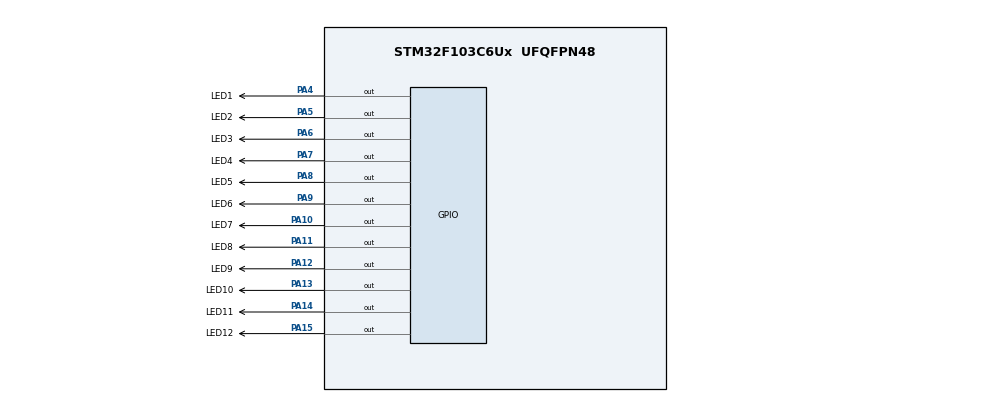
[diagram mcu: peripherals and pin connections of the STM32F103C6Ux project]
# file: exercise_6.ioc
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Mcu.Family=STM32F1
Mcu.Name=STM32F103C6Ux
Mcu.Package=UFQFPN48
NVIC.PriorityGroup=NVIC_PRIORITYGROUP_4
PA10.GPIO_Label=LED7
PA10.Signal=GPIO_Output
PA11.GPIO_Label=LED8
PA11.Signal=GPIO_Output
PA12.GPIO_Label=LED9
PA12.Signal=GPIO_Output
PA13.GPIO_Label=LED10
PA13.Signal=GPIO_Output
PA14.GPIO_Label=LED11
PA14.Signal=GPIO_Output
PA15.GPIO_Label=LED12
PA15.Signal=GPIO_Output
PA4.GPIO_Label=LED1
PA4.Signal=GPIO_Output
PA5.GPIO_Label=LED2
PA5.Signal=GPIO_Output
PA6.GPIO_Label=LED3
PA6.Signal=GPIO_Output
PA7.GPIO_Label=LED4
PA7.Signal=GPIO_Output
PA8.GPIO_Label=LED5
PA8.Signal=GPIO_Output
PA9.GPIO_Label=LED6
PA9.Signal=GPIO_Output
ProjectManager.HeapSize=0x200
ProjectManager.StackSize=0x400
ProjectManager.TargetToolchain=STM32CubeIDE
RCC.APB1Freq_Value=8000000
RCC.APB2Freq_Value=8000000
VP_SYS_VS_ND.Mode=No_Debug
board=custom

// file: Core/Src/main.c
/* USER CODE BEGIN Header */
/**
  ******************************************************************************
  * @file           : main.c
  * @brief          : Main program body
  ******************************************************************************
  * @attention
  *
  * <h2><center>&copy; Copyright (c) 2025 STMicroelectronics.
  * All rights reserved.</center></h2>
  *
  * This software component is licensed by ST under BSD 3-Clause license,
  * the "License"; You may not use this file except in compliance with the
  * License. You may obtain a copy of the License at:
  *                        opensource.org/licenses/BSD-3-Clause
  *
  ******************************************************************************
  */
/* USER CODE END Header */
#include "main.h"

void SystemClock_Config(void);
static void MX_GPIO_Init(void);

uint16_t pins[12] = {LED12_Pin, LED1_Pin, LED2_Pin, LED3_Pin, LED4_Pin, LED5_Pin,
						LED6_Pin, LED7_Pin, LED8_Pin, LED9_Pin, LED10_Pin, LED11_Pin};
void clearAllClock(){
	for (int i = 0; i < 12; i++){
		HAL_GPIO_WritePin(GPIOA, pins[i], GPIO_PIN_SET);
	}
}

void setNumberOnClock(int num){
	HAL_GPIO_WritePin(GPIOA, pins[num], GPIO_PIN_RESET);
}

void clearNumberOnClock(int num){
	HAL_GPIO_WritePin(GPIOA, pins[num], GPIO_PIN_SET);
}

int main(void)
{

  /* MCU Configuration--------------------------------------------------------*/

  /* Reset of all peripherals, Initializes the Flash interface and the Systick. */
  HAL_Init();

  /* Configure the system clock */
  SystemClock_Config();

  /* Initialize all configured peripherals */
  MX_GPIO_Init();

  /* Infinite loop */
  /* USER CODE BEGIN WHILE */
  	  int h = 5, m = 59, s = 50;
  while (1)
  {
	  // testing

	  /*clearAllClock();
	  HAL_Delay(500);*/
	  /*
	  HAL_GPIO_TogglePin(LED1_GPIO_Port, LED1_Pin);
	  HAL_Delay(500);
	  HAL_GPIO_TogglePin(LED2_GPIO_Port, LED2_Pin);
	  HAL_Delay(500);
	  HAL_GPIO_TogglePin(LED3_GPIO_Port, LED3_Pin);
	  HAL_Delay(500);
	  HAL_GPIO_TogglePin(LED4_GPIO_Port, LED4_Pin);
	  HAL_Delay(500);
	  HAL_GPIO_TogglePin(LED5_GPIO_Port, LED5_Pin);
	  HAL_Delay(500);
	  HAL_GPIO_TogglePin(LED6_GPIO_Port, LED6_Pin);
	  HAL_Delay(500);
	  HAL_GPIO_TogglePin(LED7_GPIO_Port, LED7_Pin);
	  HAL_Delay(500);
	  HAL_GPIO_TogglePin(LED8_GPIO_Port, LED8_Pin);
	  HAL_Delay(500);
	  HAL_GPIO_TogglePin(LED9_GPIO_Port, LED9_Pin);
	  HAL_Delay(500);
	  HAL_GPIO_TogglePin(LED10_GPIO_Port, LED10_Pin);
	  HAL_Delay(500);
	  HAL_GPIO_TogglePin(LED11_GPIO_Port, LED11_Pin);
	  HAL_Delay(500);
	  HAL_GPIO_TogglePin(LED12_GPIO_Port, LED12_Pin);
	  HAL_Delay(500);
	   */

	  // CLOCK
	  clearAllClock();

	  int pos_h = h % 12;
	  int pos_m = (m/5) % 12;
	  int pos_s = (s/5) % 12; // vi tri led sang

	  setNumberOnClock(pos_h);
	  setNumberOnClock(pos_m);
	  setNumberOnClock(pos_s);

	  HAL_Delay(1000);

	  s++; // chay clock
	  if (s >= 60){
	  	s = 0;
	  	m++;
	  }
	  if (m >= 60){
	  	m = 0;
	  	h++;
	  }
	  if (h >= 12){
	  	h = 0;
	  }
    /* USER CODE END WHILE */

  }
}

void SystemClock_Config(void)
{
  RCC_OscInitTypeDef RCC_OscInitStruct = {0};
  RCC_ClkInitTypeDef RCC_ClkInitStruct = {0};

  /** Initializes the RCC Oscillators according to the specified parameters
  * in the RCC_OscInitTypeDef structure.
  */
  RCC_OscInitStruct.OscillatorType = RCC_OSCILLATORTYPE_HSI;
  RCC_OscInitStruct.HSIState = RCC_HSI_ON;
  RCC_OscInitStruct.HSICalibrationValue = RCC_HSICALIBRATION_DEFAULT;
  RCC_OscInitStruct.PLL.PLLState = RCC_PLL_NONE;
  if (HAL_RCC_OscConfig(&RCC_OscInitStruct) != HAL_OK)
  {
    Error_Handler();
  }
  /** Initializes the CPU, AHB and APB buses clocks
  */
  RCC_ClkInitStruct.ClockType = RCC_CLOCKTYPE_HCLK|RCC_CLOCKTYPE_SYSCLK
                              |RCC_CLOCKTYPE_PCLK1|RCC_CLOCKTYPE_PCLK2;
  RCC_ClkInitStruct.SYSCLKSource = RCC_SYSCLKSOURCE_HSI;
  RCC_ClkInitStruct.AHBCLKDivider = RCC_SYSCLK_DIV1;
  RCC_ClkInitStruct.APB1CLKDivider = RCC_HCLK_DIV1;
  RCC_ClkInitStruct.APB2CLKDivider = RCC_HCLK_DIV1;

  if (HAL_RCC_ClockConfig(&RCC_ClkInitStruct, FLASH_LATENCY_0) != HAL_OK)
  {
    Error_Handler();
  }
}

static void MX_GPIO_Init(void)
{
  GPIO_InitTypeDef GPIO_InitStruct = {0};

  /* GPIO Ports Clock Enable */
  __HAL_RCC_GPIOA_CLK_ENABLE();

  /*Configure GPIO pin Output Level */
  HAL_GPIO_WritePin(GPIOA, LED1_Pin|LED2_Pin|LED3_Pin|LED4_Pin
                          |LED5_Pin|LED6_Pin|LED7_Pin|LED8_Pin
                          |LED9_Pin|LED10_Pin|LED11_Pin|LED12_Pin, GPIO_PIN_RESET);

  /*Configure GPIO pins : LED1_Pin LED2_Pin LED3_Pin LED4_Pin
                           LED5_Pin LED6_Pin LED7_Pin LED8_Pin
                           LED9_Pin LED10_Pin LED11_Pin LED12_Pin */
  GPIO_InitStruct.Pin = LED1_Pin|LED2_Pin|LED3_Pin|LED4_Pin
                          |LED5_Pin|LED6_Pin|LED7_Pin|LED8_Pin
                          |LED9_Pin|LED10_Pin|LED11_Pin|LED12_Pin;
  GPIO_InitStruct.Mode = GPIO_MODE_OUTPUT_PP;
  GPIO_InitStruct.Pull = GPIO_NOPULL;
  GPIO_InitStruct.Speed = GPIO_SPEED_FREQ_LOW;
  HAL_GPIO_Init(GPIOA, &GPIO_InitStruct);

}

void Error_Handler(void)
{
  __disable_irq();
  while (1)
  {
  }
}

/************************ (C) COPYRIGHT STMicroelectronics *****END OF FILE****/
